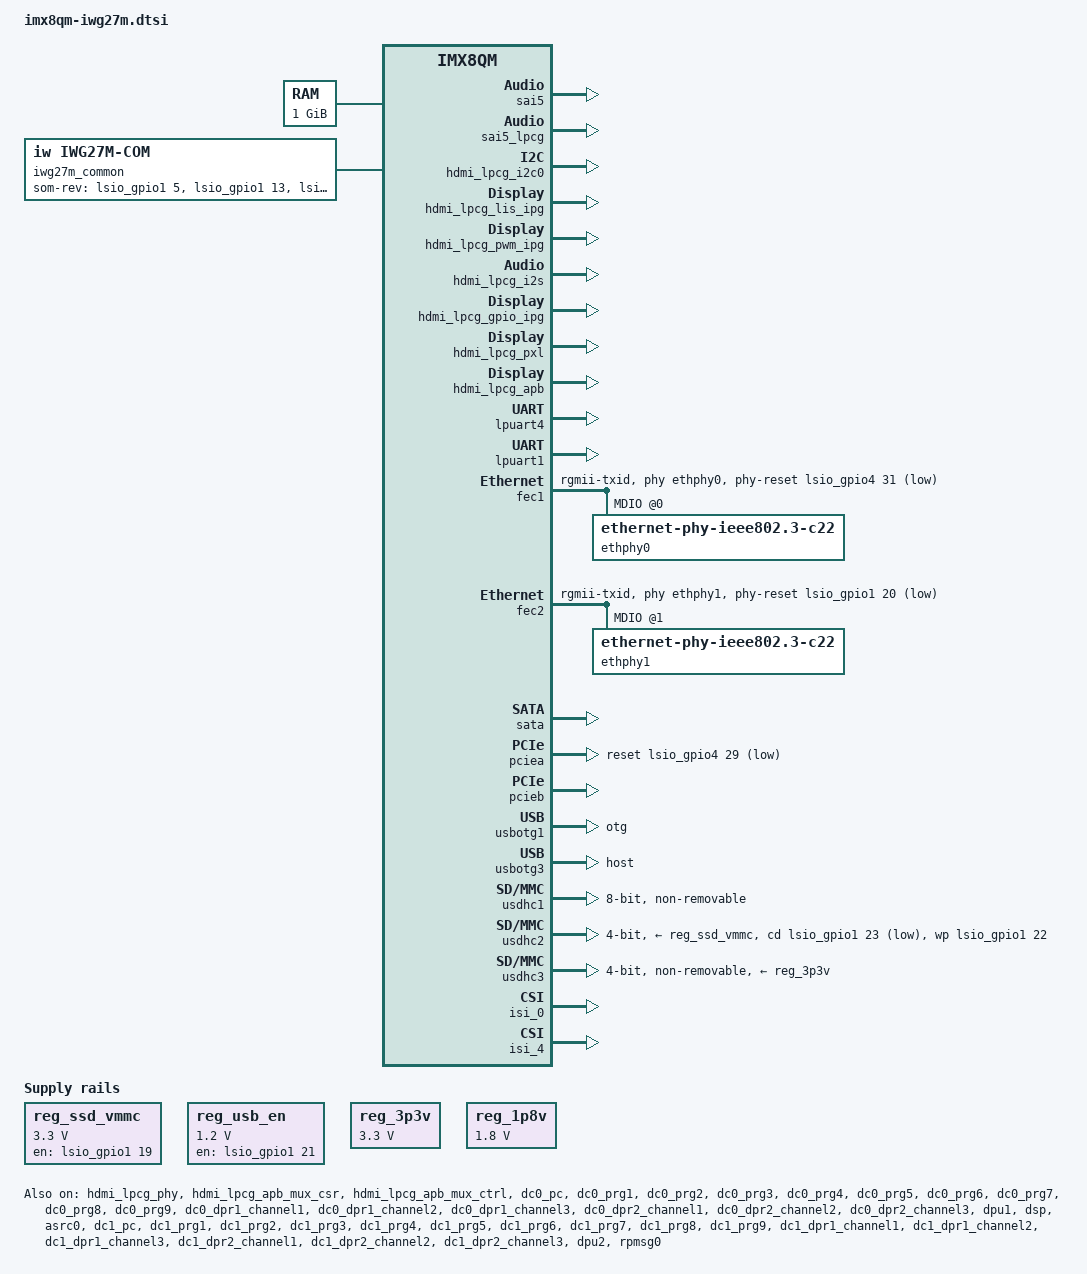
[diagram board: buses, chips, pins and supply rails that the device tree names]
// SPDX-License-Identifier: GPL-2.0+
/*
 * Copyright (c) 2021 iWave Systems Technologies Pvt. Ltd.
 *
 * This program is free software; you can redistribute it and/or
 * modify it under the terms of the GNU General Public License
 * as published by the Free Software Foundation; either version 2
 * of the License, or (at your option) any later version.
 *
 * This program is distributed in the hope that it will be useful,
 * but WITHOUT ANY WARRANTY; without even the implied warranty of
 * MERCHANTABILITY or FITNESS FOR A PARTICULAR PURPOSE.  See the
 * GNU General Public License for more details.
 */

#include <dt-bindings/usb/pd.h>
#include "imx8qm.dtsi"

/ {
	chosen {
                stdout-path = &lpuart4;
	};

	aliases {
		serial4 = &lpuart4;
	};

	memory@80000000 {
		device_type = "memory";
		reg = <0x00000000 0x80000000 0 0x40000000>;
	};

	reserved-memory {
		#address-cells = <2>;
		#size-cells = <2>;
		ranges;

		decoder_boot: decoder_boot@0x84000000 {
			no-map;
			reg = <0 0x84000000 0 0x2000000>;
		};
		encoder_boot: encoder_boot@0x86000000 {
			no-map;
			reg = <0 0x86000000 0 0x400000>;
		};
		/*
		 * reserved-memory layout
		 * 0x8800_0000 ~ 0x8FFF_FFFF is reserved for M4
		 * Shouldn't be used at A core and Linux side.
		 *
		 */
		m4_reserved: m4@0x88000000 {
			no-map;
			reg = <0 0x88000000 0 0x8000000>;
		};
		rpmsg_reserved: rpmsg@0x90000000 {
			no-map;
			reg = <0 0x90200000 0 0x200000>;
		};
		decoder_rpc: decoder_rpc@0x92000000 {
			no-map;
			reg = <0 0x92000000 0 0x200000>;
		};
		encoder_rpc: encoder_rpc@0x92200000 {
			no-map;
			reg = <0 0x92200000 0 0x200000>;
		};
		dsp_reserved: dsp@0x92400000 {
			no-map;
			reg = <0 0x92400000 0 0x2000000>;
		};
		encoder_reserved: encoder_reserved@0x94400000 {
			no-map;
			reg = <0 0x94400000 0 0x800000>;
		};
		ts_boot: ts_boot@0x95000000 {
			no-map;
			reg = <0 0x95000000 0 0x400000>;
		};

		/* global autoconfigured region for contiguous allocations */
		linux,cma {
			compatible = "shared-dma-pool";
			reusable;
			size = <0 0x3c000000>;
			alloc-ranges = <0 0x96000000 0 0x3c000000>;
			linux,cma-default;
		};
	};

	reg_ssd_vmmc: regulator-ssd-vmmc { /* USDHC2: 3.3V VDD Enable Regulator */
		compatible = "regulator-fixed";
		regulator-name = "VDD_USDHC2_3P3V";
		regulator-min-microvolt = <3300000>;
		regulator-max-microvolt = <3300000>;
		gpio = <&lsio_gpio1 19 GPIO_ACTIVE_HIGH>;
		enable-active-high;
		regulator-always-on;
	};

	reg_usb_en: regulator-usb-en { /* USB: USB Hub Power Enable Regulator */
		compatible = "regulator-fixed";
		regulator-name = "VDD_USB_1P2V";
		regulator-min-microvolt = <1200000>;
		regulator-max-microvolt = <1200000>;
		regulator-type = "voltage";
		gpio = <&lsio_gpio1 21 GPIO_ACTIVE_HIGH>;
		enable-active-high;
		regulator-always-on;
	};

	reg_3p3v: 3p3v { /* Regulator: Fixed 3.3V Regulator */
		compatible = "regulator-fixed";
		regulator-name = "3P3V";
		regulator-min-microvolt = <3300000>;
		regulator-max-microvolt = <3300000>;
		regulator-always-on;
		regulator-boot-on;
	};

	reg_1p8v: 1p8v { /* Regulator: Fixed 1.8V Regulator */
		compatible = "regulator-fixed";
		regulator-name = "1P8V";
		regulator-min-microvolt = <1800000>;
		regulator-max-microvolt = <1800000>;
		regulator-always-on;
	};

	/* SoC Board Setttings : Setting Board Configuration GPIOs */
	iwg27m_common {
		compatible = "iw,iwg27m-com";
		pinctrl-names = "default";
		pinctrl-0 = <&pinctrl_board_cfg>;
		som-rev-gpios = <&lsio_gpio1 5 0>, <&lsio_gpio1 13 0>, <&lsio_gpio1 12 0>,  <&lsio_gpio1 11 0>,
			<&lsio_gpio0 6 0>, <&lsio_gpio0 7 0>, <&lsio_gpio0 11 0>;
		status = "okay";
	};


	sound-hdmi-tx { /* HDMI: HDMI TX Audio */
		compatible = "fsl,imx-audio-cdnhdmi";
		model = "imx-audio-hdmi-tx";
		audio-cpu = <&sai5>;
		protocol = <1>;
		hdmi-out;
		status = "disabled";
	};

	reserved-memory {
		#address-cells = <2>;
		#size-cells = <2>;
		ranges;

		vdev0vring0: vdev0vring0@90000000 {
                        compatible = "shared-dma-pool";
			reg = <0 0x90000000 0 0x8000>;
			no-map;
		};

		vdev0vring1: vdev0vring1@90008000 {
                        compatible = "shared-dma-pool";
			reg = <0 0x90008000 0 0x8000>;
			no-map;
		};

		vdev1vring0: vdev1vring0@90010000 {
                        compatible = "shared-dma-pool";
			reg = <0 0x90010000 0 0x8000>;
			no-map;
		};

		vdev1vring1: vdev1vring1@90018000 {
                        compatible = "shared-dma-pool";
			reg = <0 0x90018000 0 0x8000>;
			no-map;
		};

		vdevbuffer: vdevbuffer {
                        compatible = "shared-dma-pool";
			reg = <0 0x90400000 0 0x100000>;
			no-map;
		};

		vdev2vring0: vdev0vring0@90100000 {
                        compatible = "shared-dma-pool";
			reg = <0 0x90100000 0 0x8000>;
			no-map;
		};

		vdev2vring1: vdev0vring1@90108000 {
                        compatible = "shared-dma-pool";
			reg = <0 0x90108000 0 0x8000>;
			no-map;
		};

		vdev3vring0: vdev1vring0@90110000 {
                        compatible = "shared-dma-pool";
			reg = <0 0x90110000 0 0x8000>;
			no-map;
		};

		vdev3vring1: vdev1vring1@90118000 {
                        compatible = "shared-dma-pool";
			reg = <0 0x90118000 0 0x8000>;
			no-map;
		};
	};
};

&lsio_gpio0 {
	status = "okay";
};

&lsio_gpio1 {
	status = "okay";
};

&lsio_gpio2 {
	status = "okay";
};

&lsio_gpio3 {
	status = "okay";
};

&lsio_gpio4 {
	status = "okay";
};

&lsio_gpio5 {
	status = "okay";
};
&lsio_gpio7 {
	status = "okay";
};

&hsio_refb_clk {
	status = "disabled";
};

&sai5 {
	status = "okay";
};

&sai5_lpcg {
        status = "okay";
};

&hdmi {
        compatible = "cdn,imx8qm-hdmi";
        lane-mapping = <0x93>;
	/* IWG27M: HDMI-DDC: Workaround for R3.X SOM DDC IO Voltage level */
	fsl,no_edid;
	status = "disabled";
};

&irqsteer_hdmi {
	status = "disabled";
};

&hdmi_lpcg_i2c0 {
	status = "okay";
};

&hdmi_lpcg_lis_ipg {
	status = "okay";
};

&hdmi_lpcg_pwm_ipg {
	status = "okay";
};

&hdmi_lpcg_i2s {
	status = "okay";
};

&hdmi_lpcg_gpio_ipg {
	status = "okay";
};

&hdmi_lpcg_msi_hclk {
	status = "okay";
};

&hdmi_lpcg_pxl {
	status = "okay";
};

&hdmi_lpcg_phy {
	status = "okay";
};

&hdmi_lpcg_apb_mux_csr {
	status = "okay";
};

&hdmi_lpcg_apb_mux_ctrl {
	status = "okay";
};

&hdmi_lpcg_apb {
	status = "okay";
};

&dc0_pc {
	status = "okay";
};

&dc0_prg1 {
	status = "okay";
};

&dc0_prg2 {
	status = "okay";
};

&dc0_prg3 {
	status = "okay";
};

&dc0_prg4 {
	status = "okay";
};

&dc0_prg5 {
	status = "okay";
};

&dc0_prg6 {
	status = "okay";
};

&dc0_prg7 {
	status = "okay";
};

&dc0_prg8 {
	status = "okay";
};

&dc0_prg9 {
	status = "okay";
};

&dc0_dpr1_channel1 {
	status = "okay";
};

&dc0_dpr1_channel2 {
	status = "okay";
};

&dc0_dpr1_channel3 {
	status = "okay";
};

&dc0_dpr2_channel1 {
	status = "okay";
};

&dc0_dpr2_channel2 {
	status = "okay";
};

&dc0_dpr2_channel3 {
	status = "okay";
};

&dpu1 {
	status = "okay";
};

&dsp {
	compatible = "fsl,imx8qm-dsp-v1";
	status = "okay";
};

&sec_jr3 {
	status = "disabled";
};

&asrc0 {
	fsl,asrc-rate  = <48000>;
	status = "okay";
};

&dc1_pc {
	status = "okay";
};

&dc1_prg1 {
	status = "okay";
};

&dc1_prg2 {
	status = "okay";
};

&dc1_prg3 {
	status = "okay";
};

&dc1_prg4 {
	status = "okay";
};

&dc1_prg5 {
	status = "okay";
};

&dc1_prg6 {
	status = "okay";
};

&dc1_prg7 {
	status = "okay";
};

&dc1_prg8 {
	status = "okay";
};

&dc1_prg9 {
	status = "okay";
};

&dc1_dpr1_channel1 {
	status = "okay";
};

&dc1_dpr1_channel2 {
	status = "okay";
};

&dc1_dpr1_channel3 {
	status = "okay";
};

&dc1_dpr2_channel1 {
	status = "okay";
};

&dc1_dpr2_channel2 {
	status = "okay";
};

&dc1_dpr2_channel3 {
	status = "okay";
};

&dpu2 {
	status = "okay";
};

&dma_subsys {
	lpuart4: serial@5a0a0000 {
		compatible = "fsl,imx8qm-lpuart", "fsl,imx8qxp-lpuart";
		reg = <0x5a0a0000 0x1000>;
		interrupts = <GIC_SPI 349 IRQ_TYPE_LEVEL_HIGH>;
		interrupt-parent = <&gic>;
		clocks = <&uart4_lpcg 1>, <&uart4_lpcg 0>;
		clock-names = "ipg", "baud";
		assigned-clocks = <&clk IMX_SC_R_UART_4 IMX_SC_PM_CLK_PER>;
		assigned-clock-rates = <80000000>;
		power-domains = <&pd IMX_SC_R_UART_4>;
		power-domain-names = "uart";
		dma-names = "tx","rx";
		dmas = <&edma2 21 0 0>,
			<&edma2 20 0 1>;
	};
};

&lpuart1 { /* LPUART1: Bluetooth */
	pinctrl-names = "default";
	pinctrl-0 = <&pinctrl_lpuart1>;
	port-number = <1>;
	status = "okay";
};

&lpuart4 { /* LPUART4: Debug UART */
        pinctrl-names = "default";
        pinctrl-0 = <&pinctrl_lpuart4>;
	status = "okay";
};

&fec1 { /* FEC1: AR8031 PHY ENET 0 */
	pinctrl-names = "default";
	pinctrl-0 = <&pinctrl_fec1>;
	phy-mode = "rgmii-txid";
	phy-handle = <&ethphy0>;
	phy-reset-gpios = <&lsio_gpio4 31 GPIO_ACTIVE_LOW>;
	fsl,magic-packet;
	fsl,mii-exclusive;
	nvmem-cells = <&fec_mac0>;
	nvmem-cell-names = "mac-address";
	fsl,rgmii_rxc_dly;
	status = "okay";

	mdio {
		#address-cells = <1>;
		#size-cells = <0>;

		ethphy0: ethernet-phy@0 {
			compatible = "ethernet-phy-ieee802.3-c22";
			at803x,eee-disabled;
			at803x,vddio-1p8v;
		};
	};
};

&fec2 { /* FEC2: AR8031 PHY ENET 1 */
	pinctrl-names = "default";
	pinctrl-0 = <&pinctrl_fec2>;
	phy-mode = "rgmii-txid";
	phy-handle = <&ethphy1>;
	phy-reset-gpios = <&lsio_gpio1 20 GPIO_ACTIVE_LOW>;
	fsl,magic-packet;
	fsl,mii-exclusive;
	nvmem-cells = <&fec_mac1>;
	nvmem-cell-names = "mac-address";
	fsl,rgmii_rxc_dly;
	status = "okay";

	mdio {
		#address-cells = <1>;
		#size-cells = <0>;

		ethphy1: ethernet-phy@1 {
			compatible = "ethernet-phy-ieee802.3-c22";
			at803x,eee-disabled;
			at803x,vddio-1p8v;
		};
	};
};

&flexspi0 { /* FLEXSPI0: MT35XU512ABA Octa-SPI */
	pinctrl-names = "default";
	pinctrl-0 = <&pinctrl_flexspi0>;
	#address-cells = <1>;
	#size-cells = <0>;
	fsl,spi-num-chipselects = <1>;
	status = "disabled";

	flash0: mt35xu512aba@0 {
		reg = <0>;
		#address-cells = <1>;
		#size-cells = <1>;
		compatible = "jedec,spi-nor", "micron,mt35xu512aba";
		spi-max-frequency = <133000000>;
		spi-nor,ddr-quad-read-dummy = <8>;
		spi-tx-bus-width = <4>;
		spi-rx-bus-width = <4>;
		status = "disabled";
	};
};

&sata { /* SATA */
	pinctrl-names = "default";
	clock-names = "sata", "sata_ref", "epcs_tx", "epcs_rx",
			"per_clk0", "per_clk1", "per_clk2",
			"per_clk3", "per_clk4", "per_clk5",
			"phy_pclk0", "phy_pclk1", "phy_apbclk", "ahb";
	power-domains = <&pd IMX_SC_R_SATA_0>,
			<&pd IMX_SC_R_PCIE_A>,
			<&pd IMX_SC_R_PCIE_B>,
			<&pd IMX_SC_R_SERDES_0>,
			<&pd IMX_SC_R_SERDES_1>,
			<&pd IMX_SC_R_HSIO_GPIO>,
			<&pd IMX_SC_R_SATA_0>;
	pinctrl-0 = <&pinctrl_sata>;
	sata-act-gpios = <&lsio_gpio1 18 GPIO_ACTIVE_LOW>;
	fsl,phy-imp = <0x6c>;
	ext_osc = <1>;
	status = "okay";
};

&pciea{ /* PCIE: PCIEA SATA */
	pinctrl-names = "default";
	pinctrl-0 = <&pinctrl_pciea>;
	reset-gpio = <&lsio_gpio4 29 GPIO_ACTIVE_LOW>;
	ext_osc = <1>;
	epdev_on-supply = <&reg_3p3v>;
	reserved-region = <&rpmsg_reserved>;
	status = "okay";
};

&pcieb{ /* PCIE:  PCIEB SATA */
	ext_osc = <1>;
	epdev_on-supply = <&reg_3p3v>;
	status = "okay";
};

&rpmsg0{
	/*
	 * 64K for one rpmsg instance:
	 */
	vdev-nums = <2>;
	reg = <0x0 0x90000000 0x0 0x20000>;
	memory-region = <&vdevbuffer>;
	status = "okay";
};

&rpmsg1{
	/*
	 * 64K for one rpmsg instance:
	 */
	vdev-nums = <2>;
	reg = <0x0 0x90100000 0x0 0x20000>;
	memory-region = <&vdevbuffer>;
	status = "okay";
};

&usbphy1 {
	status = "okay";
};

&usbotg1 { /* USBOTG1: USB 2.0 OTG Device */
	pinctrl-names = "default";
	pinctrl-0 = <&pinctrl_usbotg1>;
	srp-disable;
	hnp-disable;
	adp-disable;
	otg-pwr-gpio = <&lsio_gpio4 3 GPIO_ACTIVE_LOW>;
	dr_mode = "otg";
	power-active-high;
	disable-over-current;
	status = "okay";
};

&usb3phynop1 {
	status = "okay";
};

&usbotg3 { /* USBOTG3: USB Host */
	pinctrl-names = "default";
	pinctrl-0 = <&pinctrl_usbotg3>;
	vusb-supply = <&reg_usb_en>;
	dr_mode = "host";
	status = "okay";
};

&usdhc1 { /* USDHC1: EMMC */
	pinctrl-names = "default", "state_100mhz", "state_200mhz";
	pinctrl-0 = <&pinctrl_usdhc1>;
	pinctrl-1 = <&pinctrl_usdhc1>;
	pinctrl-2 = <&pinctrl_usdhc1>;
	bus-width = <8>;
	no-sd;
	no-sdio;
	non-removable;
	status = "okay";
};

&usdhc2 { /* USDHC2: Standard SD */
	pinctrl-names = "default", "state_100mhz", "state_200mhz";
	pinctrl-0 = <&pinctrl_usdhc2>, <&pinctrl_usdhc2_gpio>;
	pinctrl-1 = <&pinctrl_usdhc2>, <&pinctrl_usdhc2_gpio>;
	pinctrl-2 = <&pinctrl_usdhc2>, <&pinctrl_usdhc2_gpio>;
	bus-width = <4>;
	no-1-8-v;
	cd-gpios = <&lsio_gpio1 23 GPIO_ACTIVE_LOW>;
	wp-gpios = <&lsio_gpio1 22 GPIO_ACTIVE_HIGH>;
	vmmc-supply = <&reg_ssd_vmmc>;
	status = "okay";
};

&usdhc3 { /* USDHC3: SDIO JODY-W2 WIFI */
	pinctrl-names = "default","state_100mhz", "state_200mhz";
	pinctrl-0 = <&pinctrl_usdhc3>, <&pinctrl_usdhc3_gpio>;
	pinctrl-1 = <&pinctrl_usdhc3>, <&pinctrl_usdhc3_gpio>;
	pinctrl-2 = <&pinctrl_usdhc3>, <&pinctrl_usdhc3_gpio>;
	wifi-host-gpio = <&lsio_gpio3 12 GPIO_ACTIVE_HIGH>;
	wifi-dev-gpio = <&lsio_gpio3 5 GPIO_ACTIVE_HIGH>;
	bt-host-gpio = <&lsio_gpio3 0 GPIO_ACTIVE_HIGH>;
	bt-dev-gpio = <&lsio_gpio2 27 GPIO_ACTIVE_HIGH>;
	wl-en-gpio = <&lsio_gpio4 7 GPIO_ACTIVE_HIGH>;
	bt-en-gpio = <&lsio_gpio2 30 GPIO_ACTIVE_HIGH>;
	bus-width = <4>;
	vmmc-supply = <&reg_3p3v>;
	non-removable;
	fsl,tuning-start-tap = <40>;
        fsl,tuning-step= <2>;
	wifi-host;
	status = "okay";
};

/* Multimedia: Image Sensing Interface */
&isi_0 {
	status = "okay";

	cap_device {
		status = "okay";
	};

	m2m_device {
		status = "okay";
	};
};

&isi_1 {
	status = "disabled";

	cap_device {
		status = "disabled";
	};
};

/* HDMI: HDMI-RX */
&isi_2 {
	interface = <4 0 2>;  /* <Input MIPI_VCx Output>
				Input:  0-DC0, 1-DC1, 2-MIPI CSI0, 3-MIPI CSI1, 4-HDMI, 5-MEM
				VCx:    0-VC0, 1-VC1, 2-VC2, 3-VC3, MIPI CSI only
				Output: 0-DC0, 1-DC1, 2-MEM */
	 status = "disabled";

	cap_device {
		status = "disabled";
	};
};

&isi_3 {
	/* For HDMI RX 4K chain buf */
	interface = <4 0 2>;
	status = "disabled";

	cap_device {
		status = "disabled";
	};
};

&isi_4 {
	status = "okay";

	cap_device {
		status = "okay";
	};
};

&isi_5 {
	status = "disabled";

	cap_device {
		status = "disabled";
	};
};

&isi_6 {
	status = "disabled";

	cap_device {
		status = "disabled";
	};
};

&isi_7 {
	status = "disabled";

	cap_device {
		status = "disabled";
	};
};

&jpegdec {
       status = "okay";
};

&jpegenc {
       status = "okay";
};

&iomuxc {

	imx8qm-iwg27m {
		pinctrl_flexspi0: flexspi0grp { /* FLEXSPI: MT35XU512ABA Octa-SPI IOMUX Pin Configuration */
			fsl,pins = <
				IMX8QM_QSPI0A_DATA0_LSIO_QSPI0A_DATA0			0x06000021
				IMX8QM_QSPI0A_DATA1_LSIO_QSPI0A_DATA1			0x06000021
				IMX8QM_QSPI0A_DATA2_LSIO_QSPI0A_DATA2			0x06000021
				IMX8QM_QSPI0A_DATA3_LSIO_QSPI0A_DATA3			0x06000021
				IMX8QM_QSPI0A_DQS_LSIO_QSPI0A_DQS			0x06000021
				IMX8QM_QSPI0A_SS0_B_LSIO_QSPI0A_SS0_B			0x06000021
				IMX8QM_QSPI0A_SS1_B_LSIO_QSPI0A_SS1_B			0x06000021
				IMX8QM_QSPI0A_SCLK_LSIO_QSPI0A_SCLK			0x06000021
				IMX8QM_QSPI0B_SCLK_LSIO_QSPI0B_SCLK			0x06000021
				IMX8QM_QSPI0B_DATA0_LSIO_QSPI0B_DATA0			0x06000021
				IMX8QM_QSPI0B_DATA1_LSIO_QSPI0B_DATA1			0x06000021
				IMX8QM_QSPI0B_DATA2_LSIO_QSPI0B_DATA2			0x06000021
				IMX8QM_QSPI0B_DATA3_LSIO_QSPI0B_DATA3			0x06000021
				IMX8QM_QSPI0B_DQS_LSIO_QSPI0B_DQS			0x06000021
				IMX8QM_QSPI0B_SS0_B_LSIO_QSPI0B_SS0_B			0x06000021
				IMX8QM_QSPI0B_SS1_B_LSIO_QSPI0B_SS1_B			0x06000021
			>;
		};

		pinctrl_fec1: fec1grp { /* Ethernet0: IOMUX Pin Configuration */
			fsl,pins = <
				IMX8QM_COMP_CTL_GPIO_1V8_3V3_ENET_ENETB_PAD		0x000014a0
				IMX8QM_ENET0_MDC_CONN_ENET0_MDC				0x06000020
				IMX8QM_ENET0_MDIO_CONN_ENET0_MDIO			0x06000020
				IMX8QM_ENET0_RGMII_TX_CTL_CONN_ENET0_RGMII_TX_CTL	0x06000020
				IMX8QM_ENET0_RGMII_TXC_CONN_ENET0_RGMII_TXC		0x06000020
				IMX8QM_ENET0_RGMII_TXD0_CONN_ENET0_RGMII_TXD0		0x06000020
				IMX8QM_ENET0_RGMII_TXD1_CONN_ENET0_RGMII_TXD1		0x06000020
				IMX8QM_ENET0_RGMII_TXD2_CONN_ENET0_RGMII_TXD2		0x06000020
				IMX8QM_ENET0_RGMII_TXD3_CONN_ENET0_RGMII_TXD3		0x06000020
				IMX8QM_ENET0_RGMII_RXC_CONN_ENET0_RGMII_RXC		0x06000020
				IMX8QM_ENET0_RGMII_RX_CTL_CONN_ENET0_RGMII_RX_CTL	0x06000020
				IMX8QM_ENET0_RGMII_RXD0_CONN_ENET0_RGMII_RXD0		0x06000020
				IMX8QM_ENET0_RGMII_RXD1_CONN_ENET0_RGMII_RXD1		0x06000020
				IMX8QM_ENET0_RGMII_RXD2_CONN_ENET0_RGMII_RXD2		0x06000020
				IMX8QM_ENET0_RGMII_RXD3_CONN_ENET0_RGMII_RXD3		0x06000020
				IMX8QM_PCIE_CTRL0_CLKREQ_B_LSIO_GPIO4_IO27		0x06000021 /* Ethernet0 Interrupt */
				IMX8QM_PCIE_CTRL1_CLKREQ_B_LSIO_GPIO4_IO30		0x06000021 /* Ethernet0 Wake on LAN */
				IMX8QM_PCIE_CTRL1_WAKE_B_LSIO_GPIO4_IO31		0x06000021 /* Ethernet0 Reset */
			>;
		};

		pinctrl_fec2: fec2grp { /* Ethernet1: IOMUX Pin Configuration */
			fsl,pins = <
				IMX8QM_COMP_CTL_GPIO_1V8_3V3_ENET_ENETA_PAD		0x000014a0
				IMX8QM_ENET1_MDC_CONN_ENET1_MDC				0x06000020
				IMX8QM_ENET1_MDIO_CONN_ENET1_MDIO			0x06000020
				IMX8QM_ENET1_RGMII_TX_CTL_CONN_ENET1_RGMII_TX_CTL	0x00000060
				IMX8QM_ENET1_RGMII_TXC_CONN_ENET1_RGMII_TXC		0x00000060
				IMX8QM_ENET1_RGMII_TXD0_CONN_ENET1_RGMII_TXD0		0x00000060
				IMX8QM_ENET1_RGMII_TXD1_CONN_ENET1_RGMII_TXD1		0x00000060
				IMX8QM_ENET1_RGMII_TXD2_CONN_ENET1_RGMII_TXD2		0x00000060
				IMX8QM_ENET1_RGMII_TXD3_CONN_ENET1_RGMII_TXD3		0x00000060
				IMX8QM_ENET1_RGMII_RXC_CONN_ENET1_RGMII_RXC		0x00000060
				IMX8QM_ENET1_RGMII_RX_CTL_CONN_ENET1_RGMII_RX_CTL	0x00000060
				IMX8QM_ENET1_RGMII_RXD0_CONN_ENET1_RGMII_RXD0		0x00000060
				IMX8QM_ENET1_RGMII_RXD1_CONN_ENET1_RGMII_RXD1		0x00000060
				IMX8QM_ENET1_RGMII_RXD2_CONN_ENET1_RGMII_RXD2		0x00000060
				IMX8QM_ENET1_RGMII_RXD3_CONN_ENET1_RGMII_RXD3		0x00000060
				IMX8QM_MIPI_DSI1_I2C0_SCL_LSIO_GPIO1_IO20		0x06000021 /* Ethernet1 Reset */
				IMX8QM_MIPI_DSI0_I2C0_SCL_LSIO_GPIO1_IO16		0x06000021 /* Ethernet1 Wake on LAN */
				IMX8QM_MIPI_DSI0_I2C0_SDA_LSIO_GPIO1_IO17		0x06000021 /* Ethernet1 Interrupt */
			>;
		};

		pinctrl_lpuart1: lpuart1grp { /* LPUART1: Bluetooth IOMUX Pin Configuration */
			fsl,pins = <
				IMX8QM_UART1_RX_DMA_UART1_RX				0x06000020
				IMX8QM_UART1_TX_DMA_UART1_TX				0x06000020
				IMX8QM_UART1_CTS_B_DMA_UART1_CTS_B			0x06000020
				IMX8QM_UART1_RTS_B_DMA_UART1_RTS_B			0x06000020
			>;
		};

		pinctrl_lpuart4: lpuart4ggrp { /* LPUART4: Debug UART IOMUX Pin Configuration */
			fsl,pins = <
				IMX8QM_M40_GPIO0_00_DMA_UART4_RX			0x06000020
				IMX8QM_M40_GPIO0_01_DMA_UART4_TX			0x06000020
			>;
		};

		pinctrl_pciea: pcieagrp{ /* PCIE: IOMUX Pin Configuration */
			fsl,pins = <
				IMX8QM_SIM0_POWER_EN_LSIO_GPIO0_IO04			0x00000021 /* PCIE W_DISABLE GPIO */
				IMX8QM_PCIE_CTRL0_WAKE_B_LSIO_GPIO4_IO28		0x00000021 /* PCIE Wake GPIO */
				IMX8QM_PCIE_CTRL0_PERST_B_LSIO_GPIO4_IO29		0x00000021 /* PCIE Reset GPIO */
			>;
		};

		pinctrl_usbotg1: usbotg1 { /* USBOTG1: USB OTG IOMUX Pin Configuration */
			fsl,pins = <
				IMX8QM_USB_SS3_TC0_LSIO_GPIO4_IO03			0x00000021 /* USB2.0 OTG Power GPIO */
			>;
		};

		pinctrl_usbotg3: usbotg3 { /* USBOTG3: USB Hub IOMUX Pin COnfiguration */
			fsl,pins = <
				IMX8QM_MIPI_DSI1_I2C0_SDA_LSIO_GPIO1_IO21		0x00000021 /* USB3.0 Hub Reset GPIO */
			>;
		};

		pinctrl_usdhc1: usdhc1grp { /* USDHC1: EMMC IOMUX Pin Configuration */
			fsl,pins = <
				IMX8QM_EMMC0_CLK_CONN_EMMC0_CLK				0x06000041
				IMX8QM_EMMC0_CMD_CONN_EMMC0_CMD				0x00000021
				IMX8QM_EMMC0_DATA0_CONN_EMMC0_DATA0			0x00000021
				IMX8QM_EMMC0_DATA1_CONN_EMMC0_DATA1			0x00000021
				IMX8QM_EMMC0_DATA2_CONN_EMMC0_DATA2			0x00000021
				IMX8QM_EMMC0_DATA3_CONN_EMMC0_DATA3			0x00000021
				IMX8QM_EMMC0_DATA4_CONN_EMMC0_DATA4			0x00000021
				IMX8QM_EMMC0_DATA5_CONN_EMMC0_DATA5			0x00000021
				IMX8QM_EMMC0_DATA6_CONN_EMMC0_DATA6			0x00000021
				IMX8QM_EMMC0_DATA7_CONN_EMMC0_DATA7			0x00000021
				IMX8QM_EMMC0_STROBE_CONN_EMMC0_STROBE			0x00000041
				IMX8QM_EMMC0_RESET_B_CONN_EMMC0_RESET_B			0x00000021
			>;
		};

		pinctrl_usdhc2_gpio: usdhc2grpgpio { /* USDHC2: Standard SD IOMUX Pin Configuration */
			fsl,pins = <
				IMX8QM_MIPI_DSI1_GPIO0_00_LSIO_GPIO1_IO22		0x00000021 /* Standard SD Write Protect */
				IMX8QM_MIPI_DSI1_GPIO0_01_LSIO_GPIO1_IO23		0x00000021 /* Standard SD Card Detect */
				IMX8QM_MIPI_DSI0_GPIO0_01_LSIO_GPIO1_IO19		0x00000021 /* Standard SD Power Enable */
			>;
		};

		pinctrl_usdhc2: usdhc2grp {
			fsl,pins = <
				IMX8QM_USDHC1_CLK_CONN_USDHC1_CLK			0x06000040
				IMX8QM_USDHC1_CMD_CONN_USDHC1_CMD			0x00000021
				IMX8QM_USDHC1_DATA0_CONN_USDHC1_DATA0			0x00000021
				IMX8QM_USDHC1_DATA1_CONN_USDHC1_DATA1			0x00000021
				IMX8QM_USDHC1_DATA2_CONN_USDHC1_DATA2			0x00000021
				IMX8QM_USDHC1_DATA3_CONN_USDHC1_DATA3			0x00000021
				IMX8QM_USDHC1_VSELECT_CONN_USDHC1_VSELECT		0x00000021
			>;
		};

		pinctrl_usdhc3_gpio: usdhc3grpgpio { /* USDHC3: IOMUX Pin Configuration */
			fsl,pins = <
				IMX8QM_ESAI0_TX2_RX3_LSIO_GPIO2_IO28			0x00000021 /* WIFI IRQ */
				IMX8QM_ESAI0_TX3_RX2_LSIO_GPIO2_IO29			0x00000021 /* WIFI RST */
				IMX8QM_ESAI0_TX4_RX1_LSIO_GPIO2_IO30			0x00000021 /* WIFI CORE_PDn */
				IMX8QM_USDHC2_CD_B_LSIO_GPIO4_IO12			0x00000021 /* SD Card Detect GPIO */	
				IMX8QM_SPI0_CS0_LSIO_GPIO3_IO05				0x00000021 /* WIFI WL_DEV_WAKE */
                                IMX8QM_SAI1_RXC_LSIO_GPIO3_IO12				0x00000021 /* WIFI WL_HOST_WAKE */
				IMX8QM_USDHC1_RESET_B_LSIO_GPIO4_IO07			0x00000021 /* WIFI PDn */
				IMX8QM_ESAI0_TX1_LSIO_GPIO2_IO27			0x00000021 /* BT_DEV_WAKE */
				IMX8QM_MCLK_IN0_LSIO_GPIO3_IO00				0x00000021 /* BT_HOST_WAKE */
			>;
		};

		pinctrl_usdhc3: usdhc3grp {
			fsl,pins = <
				IMX8QM_USDHC2_CLK_CONN_USDHC2_CLK			0x06000041
				IMX8QM_USDHC2_CMD_CONN_USDHC2_CMD			0x00000021
				IMX8QM_USDHC2_DATA0_CONN_USDHC2_DATA0			0x00000021
				IMX8QM_USDHC2_DATA1_CONN_USDHC2_DATA1			0x00000021
				IMX8QM_USDHC2_DATA2_CONN_USDHC2_DATA2			0x00000021
				IMX8QM_USDHC2_DATA3_CONN_USDHC2_DATA3			0x00000021
				IMX8QM_USDHC2_VSELECT_CONN_USDHC2_VSELECT		0x00000021
			>;
		};

		pinctrl_board_cfg: brd_cfg { /* SoC Board Settings: IOMUX Pin Configuration */
			fsl,pins = <
				IMX8QM_LVDS0_GPIO01_LSIO_GPIO1_IO05			0x00000021
				IMX8QM_LVDS1_I2C0_SDA_LSIO_GPIO1_IO13			0x00000021
				IMX8QM_LVDS1_I2C0_SCL_LSIO_GPIO1_IO12			0x00000021
				IMX8QM_LVDS1_GPIO01_LSIO_GPIO1_IO11			0x00000021
				IMX8QM_M40_I2C0_SCL_LSIO_GPIO0_IO06			0x00000021
				IMX8QM_M40_I2C0_SDA_LSIO_GPIO0_IO07			0x00000021
				IMX8QM_M41_I2C0_SDA_LSIO_GPIO0_IO11			0x00000021
			>;
		};

		pinctrl_sata: sata { /* SATA: IOMUX Pin Configuration */
			fsl,pins = <
				IMX8QM_MIPI_DSI0_GPIO0_00_LSIO_GPIO1_IO18		0x00000021 /* SATA ACT LED GPIO */
			>;
		};
	};
};

&thermal_zones { /* Thermal Sensor Zone */
	pmic-thermal0 {
		polling-delay-passive = <250>;
		polling-delay = <2000>;
		thermal-sensors = <&tsens IMX_SC_R_PMIC_0>;
		trips {
			pmic_alert0: trip0 {
				temperature = <110000>;
				hysteresis = <2000>;
				type = "passive";
			};
			pmic_crit0: trip1 {
				temperature = <125000>;
				hysteresis = <2000>;
				type = "critical";
			};
		};
		cooling-maps {
			map0 {
				trip = <&pmic_alert0>;
				cooling-device =
				<&A53_0 THERMAL_NO_LIMIT THERMAL_NO_LIMIT>,
				<&A53_1 THERMAL_NO_LIMIT THERMAL_NO_LIMIT>,
				<&A53_2 THERMAL_NO_LIMIT THERMAL_NO_LIMIT>,
				<&A53_3 THERMAL_NO_LIMIT THERMAL_NO_LIMIT>,
				<&A72_0 THERMAL_NO_LIMIT THERMAL_NO_LIMIT>,
				<&A72_1 THERMAL_NO_LIMIT THERMAL_NO_LIMIT>;
			};
		};
	};
};

/* Graphics Processing Unit: GPU 3D,2D */
&gpu_3d0 {
	status = "okay";
};

&gpu_3d1 {
	status = "okay";
};

&imx8_gpu_ss {
	status = "okay";
};

&mu_m0{
	interrupts = <GIC_SPI 472 IRQ_TYPE_LEVEL_HIGH>;
};

&mu1_m0{
	interrupts = <GIC_SPI 473 IRQ_TYPE_LEVEL_HIGH>;
};

&mu2_m0{
	interrupts = <GIC_SPI 474 IRQ_TYPE_LEVEL_HIGH>;
	status = "okay";
};

&mu3_m0{
	interrupts = <GIC_SPI 475 IRQ_TYPE_LEVEL_HIGH>;
	status = "okay";
};

&vpu_decoder {
	compatible = "nxp,imx8qm-b0-vpudec";
	boot-region = <&decoder_boot>;
	rpc-region = <&decoder_rpc>;
	reg-csr = <0x2d080000>;
	core_type = <2>;
	status = "okay";
};

&vpu_ts {
	compatible = "nxp,imx8qm-b0-vpu-ts";
	boot-region = <&ts_boot>;
	reg-csr = <0x2d0b0000>;
	status = "okay";
};

&vpu_encoder {
	compatible = "nxp,imx8qm-b0-vpuenc";
	boot-region = <&encoder_boot>;
	rpc-region = <&encoder_rpc>;
	reserved-region = <&encoder_reserved>;
	reg-rpc-system = <0x40000000>;
	resolution-max = <1920 1920>;
	power-domains = <&pd IMX_SC_R_VPU_ENC_0>, <&pd IMX_SC_R_VPU_ENC_1>,
			<&pd IMX_SC_R_VPU>;
	power-domain-names = "vpuenc1", "vpuenc2", "vpu";
	mbox-names = "enc1_tx0", "enc1_tx1", "enc1_rx",
		     "enc2_tx0", "enc2_tx1", "enc2_rx";
	mboxes = <&mu1_m0 0 0
		  &mu1_m0 0 1
		  &mu1_m0 1 0
		  &mu2_m0 0 0
		  &mu2_m0 0 1
		  &mu2_m0 1 0>;
	status = "okay";

	vpu_enc_core0: core0@1020000 {
		compatible = "fsl,imx8-mu1-vpu-m0";
		reg = <0x1020000 0x20000>;
		reg-csr = <0x1090000 0x10000>;
		interrupts = <GIC_SPI 473 IRQ_TYPE_LEVEL_HIGH>;
		fsl,vpu_ap_mu_id = <17>;
		fw-buf-size = <0x200000>;
		rpc-buf-size = <0x80000>;
		print-buf-size = <0x80000>;
	};

	vpu_enc_core1: core1@1040000 {
		compatible = "fsl,imx8-mu2-vpu-m0";
		reg = <0x1040000 0x20000>;
		reg-csr = <0x10A0000 0x10000>;
		interrupts = <GIC_SPI 474 IRQ_TYPE_LEVEL_HIGH>;
		fsl,vpu_ap_mu_id = <18>;
		fw-buf-size = <0x200000>;
		rpc-buf-size = <0x80000>;
		print-buf-size = <0x80000>;
	};
};
